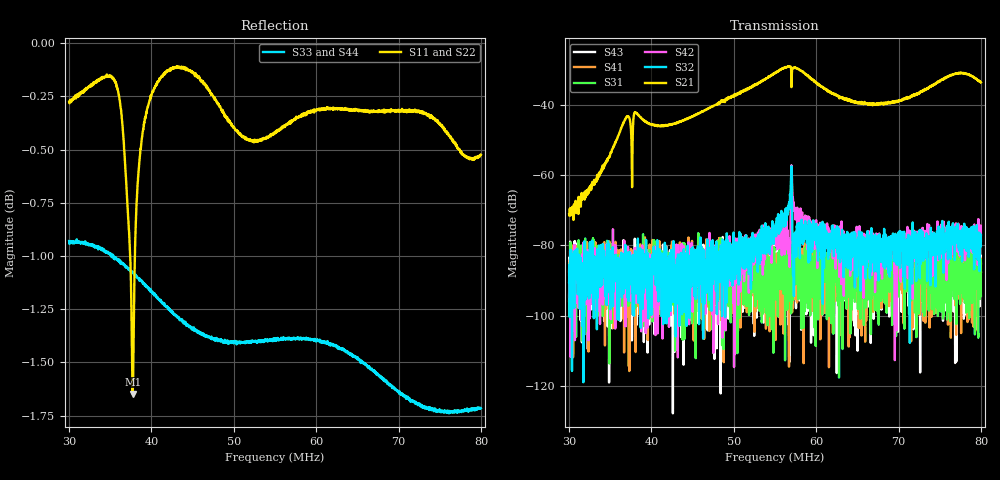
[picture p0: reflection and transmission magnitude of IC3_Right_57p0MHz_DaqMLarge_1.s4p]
#  HZ  S  DB  R  50.00
! Rohde & Schwarz Vector Network Analyzer
! Rohde-Schwarz,ZNB8-4Port,1311601044102961,2.82
! Created: UTC 2/12/2019, 2:30:12 PM
! freq[Hz]  db:S11  ang:S11  db:S12  ang:S12  db:S13  ang:S13  db:S14  ang:S14
!  db:S21  ang:S21  db:S22  ang:S22  db:S23  ang:S23  db:S24  ang:S24
!  db:S31  ang:S31  db:S32  ang:S32  db:S33  ang:S33  db:S34  ang:S34
!  db:S41  ang:S41  db:S42  ang:S42  db:S43  ang:S43  db:S44  ang:S44
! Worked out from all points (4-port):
!   2001 points, 30 MHz to 80 MHz, reference 50 ohm
!   strongest paths, dB at 30 MHz, 42.5 MHz, 55 MHz, 67.5 MHz, 80 MHz:
!     S21: -71.1, -45.5, -30.8, -40.0, -33.6
!     S32: -90.5, -85.1, -76.2, -87.9, -77.1
!     S42: -94.6, -84.7, -75.3, -84.3, -78.7
!     S31: -88.2, -89.4, -92.5, -99.5, -94.5
!     S41: -95.9, -78.9, -97.2, -82.3, -87.8
!     S43: -87.5, -85.7, -86.0, -88.8, -85.1
!   lowest |S11| = -1.6 dB at 37.73 MHz (marker M1), VSWR 10.57, Z = 46.1 - j141 ohm
!   |S11| at or under -10 dB: nowhere
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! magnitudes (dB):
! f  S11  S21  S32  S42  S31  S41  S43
! 30 MHz  -0.3  -71.1  -90.5  -94.6  -88.2  -95.9  -87.5
! 37.73 MHz  -1.6  -48.9  -82.7  -92.5  -85.3  -93.5  -83.2
! 52.73 MHz  -0.5  -34.2  -78.5  -78.6  -88.2  -87.1  -89.7
! 56.6 MHz  -0.4  -29.0  -70.5  -78.2  -85.0  -95.8  -102.6
! 57.17 MHz  -0.4  -29.5  -88.5  -66.7  -95.6  -97.6  -84.2
! 63.58 MHz  -0.3  -38.3  -82.8  -81.9  -85.8  -86.3  -88.0
! 80 MHz  -0.5  -33.6  -77.1  -78.7  -94.5  -87.8  -85.1
